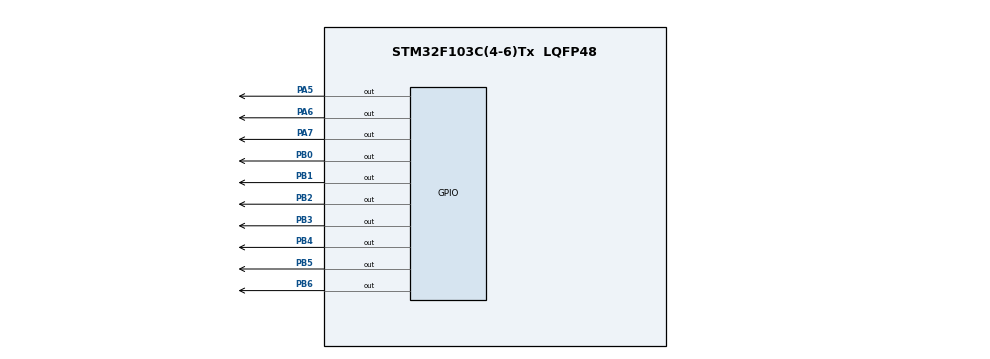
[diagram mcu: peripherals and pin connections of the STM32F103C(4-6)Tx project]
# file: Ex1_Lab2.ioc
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Mcu.Family=STM32F1
Mcu.Name=STM32F103C(4-6)Tx
Mcu.Package=LQFP48
NVIC.PriorityGroup=NVIC_PRIORITYGROUP_4
NVIC.TIM2_IRQn=true\:0\:0\:false\:false\:true\:true\:true
PA0-WKUP.Mode=SYS_WakeUp0
PA0-WKUP.Signal=SYS_WKUP
PA13.Mode=Serial_Wire
PA13.Signal=SYS_JTMS-SWDIO
PA14.Mode=Serial_Wire
PA14.Signal=SYS_JTCK-SWCLK
PA5.Signal=GPIO_Output
PA6.Signal=GPIO_Output
PA7.Signal=GPIO_Output
PB0.Signal=GPIO_Output
PB1.Signal=GPIO_Output
PB2.Signal=GPIO_Output
PB3.Signal=GPIO_Output
PB4.Signal=GPIO_Output
PB5.Signal=GPIO_Output
PB6.Signal=GPIO_Output
ProjectManager.HeapSize=0x200
ProjectManager.StackSize=0x400
ProjectManager.TargetToolchain=STM32CubeIDE
RCC.APB1Freq_Value=8000000
RCC.APB2Freq_Value=8000000
TIM2.Period=9
TIM2.Prescaler=7999
VP_TIM2_VS_ClockSourceINT.Mode=Internal
board=custom

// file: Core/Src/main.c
/* USER CODE BEGIN Header */
/**
  ******************************************************************************
  * @file           : main.c
  * @brief          : Main program body
  ******************************************************************************
  * @attention
  *
  * <h2><center>&copy; Copyright (c) 2023 STMicroelectronics.
  * All rights reserved.</center></h2>
  *
  * This software component is licensed by ST under BSD 3-Clause license,
  * the "License"; You may not use this file except in compliance with the
  * License. You may obtain a copy of the License at:
  *                        opensource.org/licenses/BSD-3-Clause
  *
  ******************************************************************************
  */
/* USER CODE END Header */
#include "main.h"
#include "software_timer.h"

TIM_HandleTypeDef htim2;

void SystemClock_Config(void);
static void MX_GPIO_Init(void);
static void MX_TIM2_Init(void);

int main(void)
{

  /* MCU Configuration--------------------------------------------------------*/

  /* Reset of all peripherals, Initializes the Flash interface and the Systick. */
  HAL_Init();

  /* Configure the system clock */
  SystemClock_Config();

  /* Initialize all configured peripherals */
  MX_GPIO_Init();
  MX_TIM2_Init();
  /* USER CODE BEGIN 2 */
  HAL_TIM_Base_Start_IT(&htim2);
  void display7SEG(int num){ // Ham hien thi led 7 doan
    	 char s[100] = {0xC0, 0xF9, 0xA4, 0xB0, 0X99, 0x92, 0x82, 0xF8, 0x80, 0x90};
    	  for(int i = 0; i < 7; ++i){
    		  HAL_GPIO_WritePin(GPIOB, GPIO_PIN_0 << i, (s[num] >> i) & 1);
    	  }
      }
    setTimer(1);// Dat thoi gian cho ban dau
    int currentState = 1;
  /* USER CODE END 2 */

  /* Infinite loop */
  while (1)
  {

    /* USER CODE BEGIN 3 */
	  if(timer_flag == 1){
	  	  		  switch(currentState){
	  	  		  case 1:
	  	  			  display7SEG(1);
	  	  			  HAL_GPIO_WritePin(GPIOA, GPIO_PIN_6, RESET); // led so 1
	  	  			  HAL_GPIO_WritePin(GPIOA, GPIO_PIN_7, SET); // led so 2
	  	  			  currentState = 2;
	  	  			  setTimer(50);
	  	  			  break;
	  	  		  case 2:
	  	  			  display7SEG(2);
	  	  			  HAL_GPIO_WritePin(GPIOA, GPIO_PIN_6, SET);
	  	  			  HAL_GPIO_WritePin(GPIOA, GPIO_PIN_7, RESET);
	  	  			  currentState = 1;
	  	  			  setTimer(50);
	  	  			  break;
	  	  		  default:
	  	  			  break;
	  	  		  }
	  	  		 HAL_GPIO_TogglePin(GPIOA, GPIO_PIN_5); // nhap nhay led trang thai
	  	  	  }
  }
  /* USER CODE END 3 */
}

void SystemClock_Config(void)
{
  RCC_OscInitTypeDef RCC_OscInitStruct = {0};
  RCC_ClkInitTypeDef RCC_ClkInitStruct = {0};

  /** Initializes the RCC Oscillators according to the specified parameters
  * in the RCC_OscInitTypeDef structure.
  */
  RCC_OscInitStruct.OscillatorType = RCC_OSCILLATORTYPE_HSI;
  RCC_OscInitStruct.HSIState = RCC_HSI_ON;
  RCC_OscInitStruct.HSICalibrationValue = RCC_HSICALIBRATION_DEFAULT;
  RCC_OscInitStruct.PLL.PLLState = RCC_PLL_NONE;
  if (HAL_RCC_OscConfig(&RCC_OscInitStruct) != HAL_OK)
  {
    Error_Handler();
  }
  /** Initializes the CPU, AHB and APB buses clocks
  */
  RCC_ClkInitStruct.ClockType = RCC_CLOCKTYPE_HCLK|RCC_CLOCKTYPE_SYSCLK
                              |RCC_CLOCKTYPE_PCLK1|RCC_CLOCKTYPE_PCLK2;
  RCC_ClkInitStruct.SYSCLKSource = RCC_SYSCLKSOURCE_HSI;
  RCC_ClkInitStruct.AHBCLKDivider = RCC_SYSCLK_DIV1;
  RCC_ClkInitStruct.APB1CLKDivider = RCC_HCLK_DIV1;
  RCC_ClkInitStruct.APB2CLKDivider = RCC_HCLK_DIV1;

  if (HAL_RCC_ClockConfig(&RCC_ClkInitStruct, FLASH_LATENCY_0) != HAL_OK)
  {
    Error_Handler();
  }
}

static void MX_TIM2_Init(void)
{

  TIM_ClockConfigTypeDef sClockSourceConfig = {0};
  TIM_MasterConfigTypeDef sMasterConfig = {0};

  htim2.Instance = TIM2;
  htim2.Init.Prescaler = 7999;
  htim2.Init.CounterMode = TIM_COUNTERMODE_UP;
  htim2.Init.Period = 9;
  htim2.Init.ClockDivision = TIM_CLOCKDIVISION_DIV1;
  htim2.Init.AutoReloadPreload = TIM_AUTORELOAD_PRELOAD_DISABLE;
  if (HAL_TIM_Base_Init(&htim2) != HAL_OK)
  {
    Error_Handler();
  }
  sClockSourceConfig.ClockSource = TIM_CLOCKSOURCE_INTERNAL;
  if (HAL_TIM_ConfigClockSource(&htim2, &sClockSourceConfig) != HAL_OK)
  {
    Error_Handler();
  }
  sMasterConfig.MasterOutputTrigger = TIM_TRGO_RESET;
  sMasterConfig.MasterSlaveMode = TIM_MASTERSLAVEMODE_DISABLE;
  if (HAL_TIMEx_MasterConfigSynchronization(&htim2, &sMasterConfig) != HAL_OK)
  {
    Error_Handler();
  }

}

static void MX_GPIO_Init(void)
{
  GPIO_InitTypeDef GPIO_InitStruct = {0};

  /* GPIO Ports Clock Enable */
  __HAL_RCC_GPIOA_CLK_ENABLE();
  __HAL_RCC_GPIOB_CLK_ENABLE();

  /*Configure GPIO pin Output Level */
  HAL_GPIO_WritePin(GPIOA, GPIO_PIN_5|GPIO_PIN_6|GPIO_PIN_7, GPIO_PIN_RESET);

  /*Configure GPIO pin Output Level */
  HAL_GPIO_WritePin(GPIOB, GPIO_PIN_0|GPIO_PIN_1|GPIO_PIN_2|GPIO_PIN_3
                          |GPIO_PIN_4|GPIO_PIN_5|GPIO_PIN_6, GPIO_PIN_RESET);

  /*Configure GPIO pins : PA5 PA6 PA7 */
  GPIO_InitStruct.Pin = GPIO_PIN_5|GPIO_PIN_6|GPIO_PIN_7;
  GPIO_InitStruct.Mode = GPIO_MODE_OUTPUT_PP;
  GPIO_InitStruct.Pull = GPIO_NOPULL;
  GPIO_InitStruct.Speed = GPIO_SPEED_FREQ_LOW;
  HAL_GPIO_Init(GPIOA, &GPIO_InitStruct);

  /*Configure GPIO pins : PB0 PB1 PB2 PB3
                           PB4 PB5 PB6 */
  GPIO_InitStruct.Pin = GPIO_PIN_0|GPIO_PIN_1|GPIO_PIN_2|GPIO_PIN_3
                          |GPIO_PIN_4|GPIO_PIN_5|GPIO_PIN_6;
  GPIO_InitStruct.Mode = GPIO_MODE_OUTPUT_PP;
  GPIO_InitStruct.Pull = GPIO_NOPULL;
  GPIO_InitStruct.Speed = GPIO_SPEED_FREQ_LOW;
  HAL_GPIO_Init(GPIOB, &GPIO_InitStruct);

}

/* USER CODE BEGIN 4 */
void HAL_TIM_PeriodElapsedCallback(TIM_HandleTypeDef *htim){
	timerRun();
}
/* USER CODE END 4 */

void Error_Handler(void)
{
  __disable_irq();
  while (1)
  {
  }
}

/************************ (C) COPYRIGHT STMicroelectronics *****END OF FILE****/
